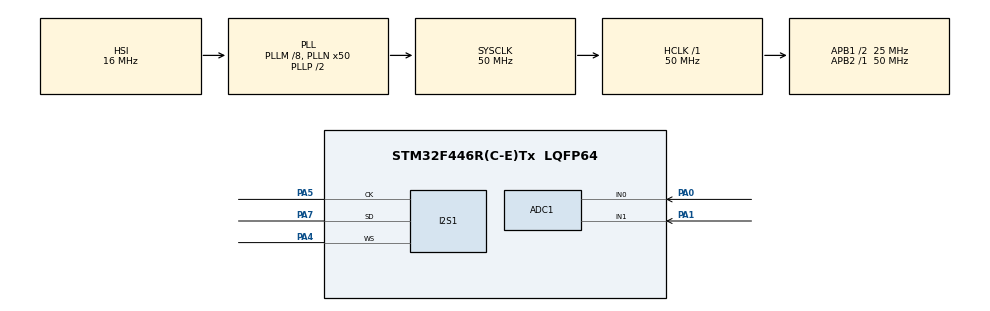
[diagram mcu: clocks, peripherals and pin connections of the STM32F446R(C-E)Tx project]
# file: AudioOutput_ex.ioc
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ADC1.Channel-0\#ChannelRegularConversion=ADC_CHANNEL_0
ADC1.Channel-1\#ChannelRegularConversion=ADC_CHANNEL_1
ADC1.ContinuousConvMode=ENABLE
ADC1.DMAContinuousRequests=ENABLE
ADC1.NbrOfConversion=2
ADC1.NbrOfConversionFlag=1
ADC1.Rank-0\#ChannelRegularConversion=1
ADC1.Rank-1\#ChannelRegularConversion=2
ADC1.SamplingTime-0\#ChannelRegularConversion=ADC_SAMPLETIME_84CYCLES
ADC1.SamplingTime-1\#ChannelRegularConversion=ADC_SAMPLETIME_84CYCLES
ADC1.ScanConvMode=ENABLE
ADC1.master=1
Dma.ADC1.0.Direction=DMA_PERIPH_TO_MEMORY
Dma.ADC1.0.FIFOMode=DMA_FIFOMODE_DISABLE
Dma.ADC1.0.Instance=DMA2_Stream0
Dma.ADC1.0.MemDataAlignment=DMA_MDATAALIGN_HALFWORD
Dma.ADC1.0.MemInc=DMA_MINC_ENABLE
Dma.ADC1.0.Mode=DMA_CIRCULAR
Dma.ADC1.0.PeriphDataAlignment=DMA_PDATAALIGN_HALFWORD
Dma.ADC1.0.PeriphInc=DMA_PINC_DISABLE
Dma.ADC1.0.Priority=DMA_PRIORITY_LOW
Dma.Request0=ADC1
Dma.Request1=SPI1_TX
Dma.SPI1_TX.1.Direction=DMA_MEMORY_TO_PERIPH
Dma.SPI1_TX.1.FIFOMode=DMA_FIFOMODE_DISABLE
Dma.SPI1_TX.1.Instance=DMA2_Stream3
Dma.SPI1_TX.1.MemDataAlignment=DMA_MDATAALIGN_HALFWORD
Dma.SPI1_TX.1.MemInc=DMA_MINC_ENABLE
Dma.SPI1_TX.1.Mode=DMA_CIRCULAR
Dma.SPI1_TX.1.PeriphDataAlignment=DMA_PDATAALIGN_HALFWORD
Dma.SPI1_TX.1.PeriphInc=DMA_PINC_DISABLE
Dma.SPI1_TX.1.Priority=DMA_PRIORITY_LOW
I2S1.AudioFreq=I2S_AUDIOFREQ_44K
I2S1.CPOL=I2S_CPOL_LOW
I2S1.DataFormat=I2S_DATAFORMAT_16B_EXTENDED
I2S1.ErrorAudioFreq=0.22 %
I2S1.FullDuplexMode=I2S_FULLDUPLEXMODE_DISABLE
I2S1.Instance=SPI$Index
I2S1.RealAudioFreq=44.099 KHz
I2S1.VirtualMode=I2S_MODE_MASTER
Mcu.Family=STM32F4
Mcu.Name=STM32F446R(C-E)Tx
Mcu.Package=LQFP64
NVIC.DMA2_Stream0_IRQn=true\:0\:0\:false\:false\:true\:false\:true\:true
NVIC.DMA2_Stream3_IRQn=true\:0\:0\:false\:false\:true\:false\:true\:true
NVIC.PriorityGroup=NVIC_PRIORITYGROUP_4
PA0-WKUP.Signal=ADCx_IN0
PA1.Signal=ADCx_IN1
PA13.Mode=Serial_Wire
PA13.Signal=SYS_JTMS-SWDIO
PA14.Mode=Serial_Wire
PA14.Signal=SYS_JTCK-SWCLK
PA4.Mode=Half_Duplex_Master
PA4.Signal=I2S1_WS
PA5.Mode=Half_Duplex_Master
PA5.Signal=I2S1_CK
PA7.Mode=Half_Duplex_Master
PA7.Signal=I2S1_SD
ProjectManager.HeapSize=0x200
ProjectManager.StackSize=0x400
ProjectManager.TargetToolchain=CMake
RCC.AHBFreq_Value=50000000
RCC.APB1CLKDivider=RCC_HCLK_DIV2
RCC.APB1Freq_Value=25000000
RCC.APB1TimFreq_Value=50000000
RCC.APB2Freq_Value=50000000
RCC.APB2TimFreq_Value=50000000
RCC.CortexFreq_Value=50000000
RCC.HCLKFreq_Value=50000000
RCC.PLLI2SN=429
RCC.PLLI2SR=4
RCC.PLLM=8
RCC.PLLN=50
RCC.PLLR=7
RCC.SYSCLKFreq_VALUE=50000000
RCC.SYSCLKSource=RCC_SYSCLKSOURCE_PLLCLK
RCC.USBFreq_Value=50000000
RCC.VCOOutputFreq_Value=100000000
SH.ADCx_IN0.0=ADC1_IN0,IN0
SH.ADCx_IN1.0=ADC1_IN1,IN1
board=custom

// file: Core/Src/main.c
/* USER CODE BEGIN Header */
/**
 ******************************************************************************
 * @file           : main.c
 * @brief          : Main program body
 ******************************************************************************
 * @attention
 *
 * Copyright (c) 2025 STMicroelectronics.
 * All rights reserved.
 *
 * This software is licensed under terms that can be found in the LICENSE file
 * in the root directory of this software component.
 * If no LICENSE file comes with this software, it is provided AS-IS.
 *
 ******************************************************************************
 */
/* USER CODE END Header */
#include "main.h"

/* USER CODE BEGIN Includes */
#include <math.h>

#include "uda1334a.h"
/* USER CODE END Includes */

/* USER CODE BEGIN PD */
#define ADC1_CHANNEL_SIZE 2
#define ADC1_SAMPLES_PER_CHANNEL 64
#define ADC1_BUFFER_SIZE ADC1_CHANNEL_SIZE* ADC1_SAMPLES_PER_CHANNEL
/* USER CODE END PD */

ADC_HandleTypeDef hadc1;
DMA_HandleTypeDef hdma_adc1;

I2S_HandleTypeDef hi2s1;
DMA_HandleTypeDef hdma_spi1_tx;

/* USER CODE BEGIN PV */
int16_t* tx_buf;

volatile uint16_t adc_buf[ADC1_BUFFER_SIZE];
/* USER CODE END PV */

void SystemClock_Config(void);
static void MX_GPIO_Init(void);
static void MX_DMA_Init(void);
static void MX_ADC1_Init(void);
static void MX_I2S1_Init(void);
/* USER CODE BEGIN PFP */

// [0]CH0, [1]CH1, [2]CH0, [3]CH1, [4]CH0, [5]CH1 ... 순으로 저장되어 있음
static inline uint16_t getADC1Value(uint8_t channel_idx) {
  uint32_t ndtr = __HAL_DMA_GET_COUNTER(&hdma_adc1);  // 남은 전송 수
  uint32_t pos =
      (ADC1_BUFFER_SIZE - ndtr) % ADC1_BUFFER_SIZE;  // 현재 쓰기가 일어날 위치
  uint32_t dma_frame =
      (pos / ADC1_CHANNEL_SIZE) *
      ADC1_CHANNEL_SIZE;  // 현재 dma 프레임?(ch0, ch1)에서 첫 인덱스
  uint32_t base = (dma_frame - ADC1_CHANNEL_SIZE + ADC1_BUFFER_SIZE) %
                  ADC1_BUFFER_SIZE;  // 이전 dma 프레임의 첫 인덱스
  return adc_buf[base + channel_idx];
}
/* USER CODE END PFP */

/* USER CODE BEGIN 0 */
void HAL_I2S_TxHalfCpltCallback(I2S_HandleTypeDef* hi2s) {
  UDA_FillHalf(&tx_buf[0]);
}

void HAL_I2S_TxCpltCallback(I2S_HandleTypeDef* hi2s) {
  UDA_FillHalf(&tx_buf[FRAMES_PER_HALF * STEREO]);
}

/* USER CODE END 0 */

int main(void)
{

  /* MCU Configuration--------------------------------------------------------*/

  /* Reset of all peripherals, Initializes the Flash interface and the Systick. */
  HAL_Init();

  /* Configure the system clock */
  SystemClock_Config();

  /* Initialize all configured peripherals */
  MX_GPIO_Init();
  MX_DMA_Init();
  MX_ADC1_Init();
  MX_I2S1_Init();
  /* USER CODE BEGIN 2 */
  /* ADC1 DMA 연속 시작: 길이=1 로 변수 계속 갱신 */
  HAL_ADC_Start_DMA(&hadc1, (uint32_t*)&adc_buf, ADC1_BUFFER_SIZE);
  __HAL_DMA_DISABLE_IT(&hdma_adc1, DMA_IT_HT | DMA_IT_TC);

  tx_buf = UDA_Init();

  /* DMA 순환 송신: tx_buf의 half-word 개수를 넘깁니다.  */
  if (HAL_I2S_Transmit_DMA(&hi2s1, (uint16_t*)tx_buf, FRAMES_PER_HALF * STEREO * 2) !=
      HAL_OK) {
    Error_Handler();
  }

  uint32_t lastTick = 0;
  /* USER CODE END 2 */

  /* Infinite loop */
  while (1) {

    /* USER CODE BEGIN 3 */
    if (HAL_GetTick() - lastTick > 100) {
      UDA_SetToneByADC(getADC1Value(0));
      UDA_SetVolumeByADC(getADC1Value(1));
      lastTick = HAL_GetTick();
    }
  }
  /* USER CODE END 3 */
}

void SystemClock_Config(void)
{
  RCC_OscInitTypeDef RCC_OscInitStruct = {0};
  RCC_ClkInitTypeDef RCC_ClkInitStruct = {0};

  /** Configure the main internal regulator output voltage
  */
  __HAL_RCC_PWR_CLK_ENABLE();
  __HAL_PWR_VOLTAGESCALING_CONFIG(PWR_REGULATOR_VOLTAGE_SCALE3);

  /** Initializes the RCC Oscillators according to the specified parameters
  * in the RCC_OscInitTypeDef structure.
  */
  RCC_OscInitStruct.OscillatorType = RCC_OSCILLATORTYPE_HSI;
  RCC_OscInitStruct.HSIState = RCC_HSI_ON;
  RCC_OscInitStruct.HSICalibrationValue = RCC_HSICALIBRATION_DEFAULT;
  RCC_OscInitStruct.PLL.PLLState = RCC_PLL_ON;
  RCC_OscInitStruct.PLL.PLLSource = RCC_PLLSOURCE_HSI;
  RCC_OscInitStruct.PLL.PLLM = 8;
  RCC_OscInitStruct.PLL.PLLN = 50;
  RCC_OscInitStruct.PLL.PLLP = RCC_PLLP_DIV2;
  RCC_OscInitStruct.PLL.PLLQ = 2;
  RCC_OscInitStruct.PLL.PLLR = 7;
  if (HAL_RCC_OscConfig(&RCC_OscInitStruct) != HAL_OK)
  {
    Error_Handler();
  }

  /** Initializes the CPU, AHB and APB buses clocks
  */
  RCC_ClkInitStruct.ClockType = RCC_CLOCKTYPE_HCLK|RCC_CLOCKTYPE_SYSCLK
                              |RCC_CLOCKTYPE_PCLK1|RCC_CLOCKTYPE_PCLK2;
  RCC_ClkInitStruct.SYSCLKSource = RCC_SYSCLKSOURCE_PLLCLK;
  RCC_ClkInitStruct.AHBCLKDivider = RCC_SYSCLK_DIV1;
  RCC_ClkInitStruct.APB1CLKDivider = RCC_HCLK_DIV2;
  RCC_ClkInitStruct.APB2CLKDivider = RCC_HCLK_DIV1;

  if (HAL_RCC_ClockConfig(&RCC_ClkInitStruct, FLASH_LATENCY_1) != HAL_OK)
  {
    Error_Handler();
  }
}

static void MX_ADC1_Init(void)
{

  ADC_ChannelConfTypeDef sConfig = {0};

  /** Configure the global features of the ADC (Clock, Resolution, Data Alignment and number of conversion)
  */
  hadc1.Instance = ADC1;
  hadc1.Init.ClockPrescaler = ADC_CLOCK_SYNC_PCLK_DIV2;
  hadc1.Init.Resolution = ADC_RESOLUTION_12B;
  hadc1.Init.ScanConvMode = ENABLE;
  hadc1.Init.ContinuousConvMode = ENABLE;
  hadc1.Init.DiscontinuousConvMode = DISABLE;
  hadc1.Init.ExternalTrigConvEdge = ADC_EXTERNALTRIGCONVEDGE_NONE;
  hadc1.Init.ExternalTrigConv = ADC_SOFTWARE_START;
  hadc1.Init.DataAlign = ADC_DATAALIGN_RIGHT;
  hadc1.Init.NbrOfConversion = 2;
  hadc1.Init.DMAContinuousRequests = ENABLE;
  hadc1.Init.EOCSelection = ADC_EOC_SINGLE_CONV;
  if (HAL_ADC_Init(&hadc1) != HAL_OK)
  {
    Error_Handler();
  }

  /** Configure for the selected ADC regular channel its corresponding rank in the sequencer and its sample time.
  */
  sConfig.Channel = ADC_CHANNEL_0;
  sConfig.Rank = 1;
  sConfig.SamplingTime = ADC_SAMPLETIME_84CYCLES;
  if (HAL_ADC_ConfigChannel(&hadc1, &sConfig) != HAL_OK)
  {
    Error_Handler();
  }

  /** Configure for the selected ADC regular channel its corresponding rank in the sequencer and its sample time.
  */
  sConfig.Channel = ADC_CHANNEL_1;
  sConfig.Rank = 2;
  if (HAL_ADC_ConfigChannel(&hadc1, &sConfig) != HAL_OK)
  {
    Error_Handler();
  }

}

static void MX_I2S1_Init(void)
{

  hi2s1.Instance = SPI1;
  hi2s1.Init.Mode = I2S_MODE_MASTER_TX;
  hi2s1.Init.Standard = I2S_STANDARD_PHILIPS;
  hi2s1.Init.DataFormat = I2S_DATAFORMAT_16B_EXTENDED;
  hi2s1.Init.MCLKOutput = I2S_MCLKOUTPUT_DISABLE;
  hi2s1.Init.AudioFreq = I2S_AUDIOFREQ_44K;
  hi2s1.Init.CPOL = I2S_CPOL_LOW;
  hi2s1.Init.ClockSource = I2S_CLOCK_PLL;
  hi2s1.Init.FullDuplexMode = I2S_FULLDUPLEXMODE_DISABLE;
  if (HAL_I2S_Init(&hi2s1) != HAL_OK)
  {
    Error_Handler();
  }

}

static void MX_DMA_Init(void)
{

  /* DMA controller clock enable */
  __HAL_RCC_DMA2_CLK_ENABLE();

  /* DMA interrupt init */
  /* DMA2_Stream0_IRQn interrupt configuration */
  HAL_NVIC_SetPriority(DMA2_Stream0_IRQn, 0, 0);
  HAL_NVIC_EnableIRQ(DMA2_Stream0_IRQn);
  /* DMA2_Stream3_IRQn interrupt configuration */
  HAL_NVIC_SetPriority(DMA2_Stream3_IRQn, 0, 0);
  HAL_NVIC_EnableIRQ(DMA2_Stream3_IRQn);

}

static void MX_GPIO_Init(void)
{

  /* GPIO Ports Clock Enable */
  __HAL_RCC_GPIOA_CLK_ENABLE();

}

void Error_Handler(void)
{
  __disable_irq();
  while (1) {
  }
}

#ifdef  USE_FULL_ASSERT
/**
  * @brief  Reports the name of the source file and the source line number
  *         where the assert_param error has occurred.
  * @param  file: pointer to the source file name
  * @param  line: assert_param error line source number
  * @retval None
  */
void assert_failed(uint8_t *file, uint32_t line)
{
  /* USER CODE BEGIN 6 */
  /* User can add his own implementation to report the file name and line
     number, ex: printf("Wrong parameters value: file %s on line %d\r\n", file,
     line) */
  /* USER CODE END 6 */
}
#endif /* USE_FULL_ASSERT */
